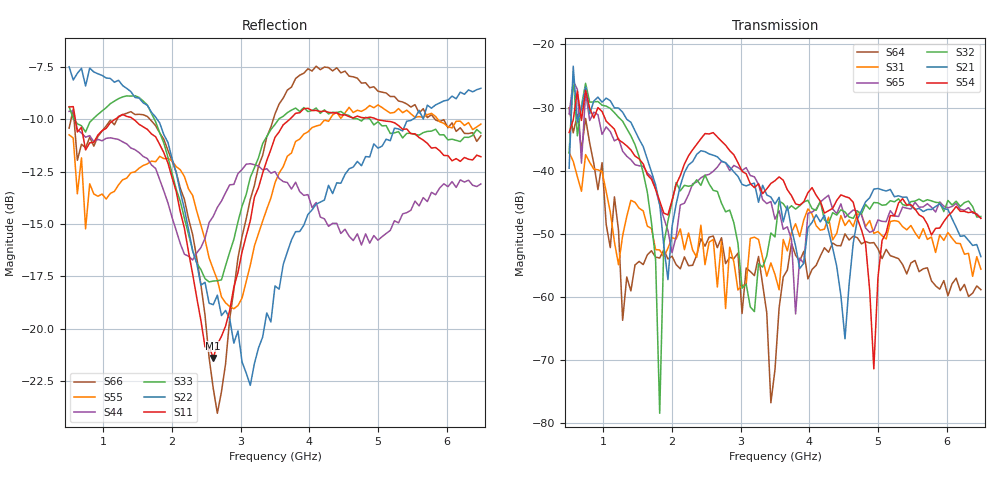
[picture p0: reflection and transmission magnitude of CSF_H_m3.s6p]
!Keysight Technologies,M9804A,MY58100912,A.14.10.03
!Date: Thursday, April 27, 2023 10:28:33
!Correction: S11(C  6-Port  )
!S12(C  6-Port  )
!S13(C  6-Port  )
!S14(C  6-Port  )
!S15(C  6-Port  )
!S16(C  6-Port  )
!S21(C  6-Port  )
!S22(C  6-Port  )
!S23(C  6-Port  )
!S24(C  6-Port  )
!S25(C  6-Port  )
!S26(C  6-Port  )
!S31(C  6-Port  )
!S32(C  6-Port  )
!S33(C  6-Port  )
!S34(C  6-Port  )
!S35(C  6-Port  )
!S36(C  6-Port  )
!S41(C  6-Port  )
!S42(C  6-Port  )
!S43(C  6-Port  )
!S44(C  6-Port  )
!S45(C  6-Port  )
!S46(C  6-Port  )
!S51(C  6-Port  )
!S52(C  6-Port  )
!S53(C  6-Port  )
!S54(C  6-Port  )
!S55(C  6-Port  )
!S56(C  6-Port  )
!S61(C  6-Port  )
!S62(C  6-Port  )
!S63(C  6-Port  )
!S64(C  6-Port  )
!S65(C  6-Port  )
!S66(C  6-Port  )
!S6P File: Measurement: :
# Hz S  RI  R 50
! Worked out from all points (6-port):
!   101 points, 500 MHz to 6.5 GHz, reference 50 ohm
!   strongest paths, dB at 500 MHz, 2 GHz, 3.5 GHz, 5 GHz, 6.5 GHz:
!     S54: -33.9, -44.7, -41.6, -56.9, -47.5
!     S21: -39.6, -48.8, -45.3, -42.8, -53.6
!     S32: -37.2, -44.9, -50.5, -45.1, -47.3
!     S65: -31.0, -53.0, -47.7, -47.8, -47.5
!     S31: -37.1, -50.6, -56.4, -49.6, -55.6
!     S64: -30.0, -53.5, -71.5, -52.3, -58.8
!   lowest |S11| = -21.4 dB at 2.6 GHz (marker M1), VSWR 1.19, Z = 42.4 + j2.2 ohm
!   |S11| at or under -10 dB: 590.1 MHz to 1.169 GHz (578.8 MHz wide, 65.8 % of centre); 1.438 GHz to 3.714 GHz (2.276 GHz wide, 88.4 % of centre); 4.983 GHz to end of sweep
